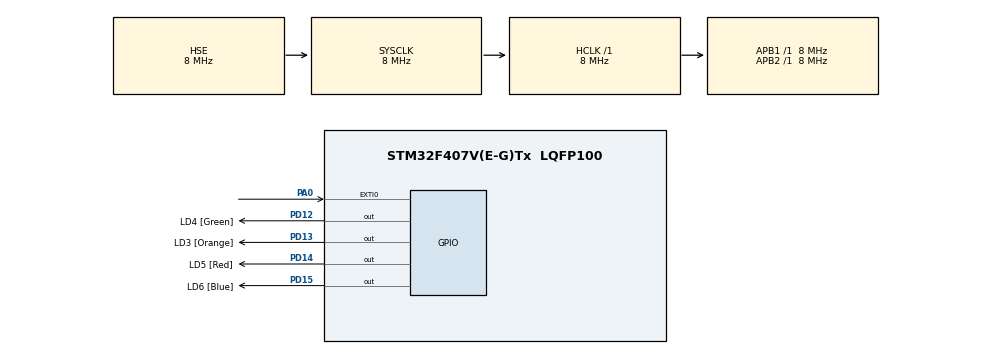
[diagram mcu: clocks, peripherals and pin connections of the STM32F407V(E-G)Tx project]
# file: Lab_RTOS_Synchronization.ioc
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FREERTOS.HEAP_NUMBER=2
FREERTOS.Tasks01=defaultTask,0,128,StartDefaultTask,Default,NULL,Dynamic,NULL,NULL
FREERTOS.configTICK_RATE_HZ=100
Mcu.Family=STM32F4
Mcu.Name=STM32F407V(E-G)Tx
Mcu.Package=LQFP100
NVIC.EXTI0_IRQn=true\:5\:0\:false\:false\:true\:true\:true\:true\:true
NVIC.PriorityGroup=NVIC_PRIORITYGROUP_4
PA0-WKUP.Signal=GPXTI0
PD12.GPIO_Label=LD4 [Green]
PD12.GPIO_Speed=GPIO_SPEED_FREQ_VERY_HIGH
PD12.Signal=GPIO_Output
PD13.GPIO_Label=LD3 [Orange]
PD13.GPIO_Speed=GPIO_SPEED_FREQ_VERY_HIGH
PD13.Signal=GPIO_Output
PD14.GPIO_Label=LD5 [Red]
PD14.GPIO_Speed=GPIO_SPEED_FREQ_VERY_HIGH
PD14.Signal=GPIO_Output
PD15.GPIO_Label=LD6 [Blue]
PD15.GPIO_Speed=GPIO_SPEED_FREQ_VERY_HIGH
PD15.Signal=GPIO_Output
PH0-OSC_IN.Mode=HSE-External-Oscillator
PH0-OSC_IN.Signal=RCC_OSC_IN
PH1-OSC_OUT.Mode=HSE-External-Oscillator
PH1-OSC_OUT.Signal=RCC_OSC_OUT
ProjectManager.HeapSize=0x200
ProjectManager.StackSize=0x400
ProjectManager.TargetToolchain=Makefile
RCC.48MHZClocksFreq_Value=32000000
RCC.AHBFreq_Value=8000000
RCC.APB1Freq_Value=8000000
RCC.APB1TimFreq_Value=8000000
RCC.APB2Freq_Value=8000000
RCC.APB2TimFreq_Value=8000000
RCC.CortexFreq_Value=8000000
RCC.HCLKFreq_Value=8000000
RCC.HSE_VALUE=8000000
RCC.HSI_VALUE=16000000
RCC.LSE_VALUE=32768
RCC.PLLM=4
RCC.PLLN=64
RCC.PLLSourceVirtual=RCC_PLLSOURCE_HSE
RCC.SYSCLKFreq_VALUE=8000000
RCC.SYSCLKSource=RCC_SYSCLKSOURCE_HSE
RCC.VCOOutputFreq_Value=128000000
VP_FREERTOS_VS_CMSIS_V1.Mode=CMSIS_V1
board=custom

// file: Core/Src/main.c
/* USER CODE BEGIN Header */
/**
  ******************************************************************************
  * @file           : main.c
  * @brief          : Main program body
  ******************************************************************************
  * @attention
  *
  * Copyright (c) 2023 STMicroelectronics.
  * All rights reserved.
  *
  * This software is licensed under terms that can be found in the LICENSE file
  * in the root directory of this software component.
  * If no LICENSE file comes with this software, it is provided AS-IS.
  *
  ******************************************************************************
  */
/* USER CODE END Header */
#include "main.h"
#include "cmsis_os.h"
#include "gpio.h"

/* USER CODE BEGIN Includes */
# include "FreeRTOS.h"
#include "stm32f4xx_hal_cortex.h"
#include "stm32f4xx_hal_gpio.h"
# include "task.h"
# include "queue.h"
# include "semphr.h"
/* USER CODE END Includes */

/* USER CODE BEGIN PV */
xSemaphoreHandle xBinarySemaphore;
uint8_t buttonPressed = 0;
/* USER CODE END PV */

void SystemClock_Config(void);
void MX_FREERTOS_Init(void);
/* USER CODE BEGIN PFP */
void vTaskLow(void* pvParameters);
void vTaskHigh(void* pvParameters);
/* USER CODE END PFP */

/* USER CODE BEGIN 0 */
void vTaskLow(void* pvParameters) {
  uint32_t led_state = 1;

  while (1) {
    gpio_led_state(1, led_state);
    led_state = (led_state == 1)? 0 : 1;

    if (buttonPressed) {
      buttonPressed = 0;
      xSemaphoreGive(xBinarySemaphore);
    }

    vTaskDelay(100 / portTICK_RATE_MS);
  }
}

void vTaskHigh(void* pvParameters) {
  portTickType t1, t2;

  gpio_led_state(3, 0);

  while (1) {
    xSemaphoreTake(xBinarySemaphore, portMAX_DELAY);
    gpio_led_state(3, 1);

    t1 = xTaskGetTickCount();
    while (1) {
      t2 = xTaskGetTickCount();
      if (((t2 - t1) * portTICK_RATE_MS) >= 2000)
        break;
    }
    gpio_led_state(3, 0);
  }
}

/**
  * @brief  The application entry point.
  * @retval int
  */
int main(void) {
  HAL_Init();
  SystemClock_Config();
  MX_GPIO_Init();

  xBinarySemaphore = xSemaphoreCreateBinary();

  if (xBinarySemaphore != NULL) {
    xTaskCreate(
      vTaskLow,
      "TASK1",
      configMINIMAL_STACK_SIZE,
      NULL,
      1,
      NULL
    );

    xTaskCreate(
      vTaskHigh,
      "TASK2",
      configMINIMAL_STACK_SIZE,
      NULL,
      2,
      NULL
    );

    vTaskStartScheduler();
  }

  while (1);
}

/* USER CODE END 0 */

void SystemClock_Config(void)
{
  RCC_OscInitTypeDef RCC_OscInitStruct = {0};
  RCC_ClkInitTypeDef RCC_ClkInitStruct = {0};

  /** Configure the main internal regulator output voltage
  */
  __HAL_RCC_PWR_CLK_ENABLE();
  __HAL_PWR_VOLTAGESCALING_CONFIG(PWR_REGULATOR_VOLTAGE_SCALE1);

  /** Initializes the RCC Oscillators according to the specified parameters
  * in the RCC_OscInitTypeDef structure.
  */
  RCC_OscInitStruct.OscillatorType = RCC_OSCILLATORTYPE_HSE;
  RCC_OscInitStruct.HSEState = RCC_HSE_ON;
  RCC_OscInitStruct.PLL.PLLState = RCC_PLL_NONE;
  if (HAL_RCC_OscConfig(&RCC_OscInitStruct) != HAL_OK)
  {
    Error_Handler();
  }

  /** Initializes the CPU, AHB and APB buses clocks
  */
  RCC_ClkInitStruct.ClockType = RCC_CLOCKTYPE_HCLK|RCC_CLOCKTYPE_SYSCLK
                              |RCC_CLOCKTYPE_PCLK1|RCC_CLOCKTYPE_PCLK2;
  RCC_ClkInitStruct.SYSCLKSource = RCC_SYSCLKSOURCE_HSE;
  RCC_ClkInitStruct.AHBCLKDivider = RCC_SYSCLK_DIV1;
  RCC_ClkInitStruct.APB1CLKDivider = RCC_HCLK_DIV1;
  RCC_ClkInitStruct.APB2CLKDivider = RCC_HCLK_DIV1;

  if (HAL_RCC_ClockConfig(&RCC_ClkInitStruct, FLASH_LATENCY_0) != HAL_OK)
  {
    Error_Handler();
  }
}

/* USER CODE BEGIN 4 */
void HAL_GPIO_EXTI_Callback(uint16_t GPIO_Pin) {
  if (GPIO_Pin == USER_BUTTON_PIN) {
    HAL_NVIC_DisableIRQ(EXTI0_IRQn);
    buttonPressed = 1;
    HAL_NVIC_EnableIRQ(EXTI0_IRQn);
  } else {
    __NOP();
  }
}
/* USER CODE END 4 */

void Error_Handler(void)
{
  __disable_irq();
  while (1)
  {
  }
}
